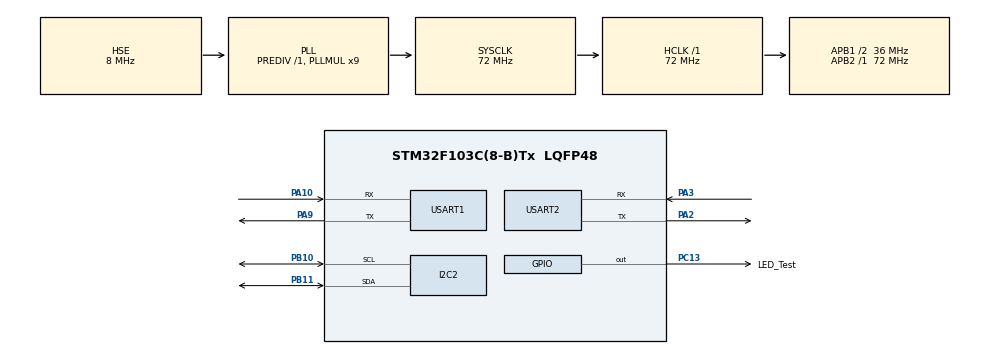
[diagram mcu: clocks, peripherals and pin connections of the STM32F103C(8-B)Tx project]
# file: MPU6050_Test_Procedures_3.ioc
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Dma.I2C2_RX.0.Direction=DMA_PERIPH_TO_MEMORY
Dma.I2C2_RX.0.Instance=DMA1_Channel5
Dma.I2C2_RX.0.MemDataAlignment=DMA_MDATAALIGN_BYTE
Dma.I2C2_RX.0.MemInc=DMA_MINC_ENABLE
Dma.I2C2_RX.0.Mode=DMA_NORMAL
Dma.I2C2_RX.0.PeriphDataAlignment=DMA_PDATAALIGN_BYTE
Dma.I2C2_RX.0.PeriphInc=DMA_PINC_DISABLE
Dma.I2C2_RX.0.Priority=DMA_PRIORITY_LOW
Dma.I2C2_TX.1.Direction=DMA_MEMORY_TO_PERIPH
Dma.I2C2_TX.1.Instance=DMA1_Channel4
Dma.I2C2_TX.1.MemDataAlignment=DMA_MDATAALIGN_BYTE
Dma.I2C2_TX.1.MemInc=DMA_MINC_ENABLE
Dma.I2C2_TX.1.Mode=DMA_NORMAL
Dma.I2C2_TX.1.PeriphDataAlignment=DMA_PDATAALIGN_BYTE
Dma.I2C2_TX.1.PeriphInc=DMA_PINC_DISABLE
Dma.I2C2_TX.1.Priority=DMA_PRIORITY_LOW
Dma.Request0=I2C2_RX
Dma.Request1=I2C2_TX
FREERTOS.Tasks01=Task_1,0,128,Start_Task_i,Default,NULL,Dynamic,NULL,NULL;Task_2,-3,128,Start_Task_2,Default,NULL,Dynamic,NULL,NULL;Task_3,-3,128,Start_Task_3,Default,NULL,Dynamic,NULL,NULL
Mcu.Family=STM32F1
Mcu.Name=STM32F103C(8-B)Tx
Mcu.Package=LQFP48
NVIC.DMA1_Channel4_IRQn=true\:0\:0\:false\:false\:true\:true\:false\:true
NVIC.DMA1_Channel5_IRQn=true\:0\:0\:false\:false\:true\:true\:false\:true
NVIC.I2C2_ER_IRQn=true\:0\:0\:false\:false\:true\:true\:true\:true
NVIC.I2C2_EV_IRQn=true\:0\:0\:false\:false\:true\:true\:true\:true
NVIC.PriorityGroup=NVIC_PRIORITYGROUP_4
NVIC.TIM3_IRQn=true\:0\:0\:false\:false\:true\:false\:false\:true
NVIC.TimeBase=TIM3_IRQn
NVIC.TimeBaseIP=TIM3
NVIC.USART1_IRQn=true\:0\:0\:false\:false\:true\:false\:true\:true
NVIC.USART2_IRQn=true\:0\:0\:false\:false\:true\:false\:true\:true
PA10.Mode=Asynchronous
PA10.Signal=USART1_RX
PA13.Mode=Serial_Wire
PA13.Signal=SYS_JTMS-SWDIO
PA14.Mode=Serial_Wire
PA14.Signal=SYS_JTCK-SWCLK
PA2.Mode=Asynchronous
PA2.Signal=USART2_TX
PA3.Mode=Asynchronous
PA3.Signal=USART2_RX
PA9.Mode=Asynchronous
PA9.Signal=USART1_TX
PB10.Mode=I2C
PB10.Signal=I2C2_SCL
PB11.Mode=I2C
PB11.Signal=I2C2_SDA
PC13-TAMPER-RTC.GPIO_Label=LED_Test
PC13-TAMPER-RTC.PinState=GPIO_PIN_SET
PC13-TAMPER-RTC.Signal=GPIO_Output
PD0-OSC_IN.Mode=HSE-External-Oscillator
PD0-OSC_IN.Signal=RCC_OSC_IN
PD1-OSC_OUT.Mode=HSE-External-Oscillator
PD1-OSC_OUT.Signal=RCC_OSC_OUT
ProjectManager.HeapSize=0x200
ProjectManager.StackSize=0x400
ProjectManager.TargetToolchain=MDK-ARM V5.27
RCC.AHBFreq_Value=72000000
RCC.APB1CLKDivider=RCC_HCLK_DIV2
RCC.APB1Freq_Value=36000000
RCC.APB1TimFreq_Value=72000000
RCC.APB2Freq_Value=72000000
RCC.APB2TimFreq_Value=72000000
RCC.HCLKFreq_Value=72000000
RCC.PLLMUL=RCC_PLL_MUL9
RCC.PLLSourceVirtual=RCC_PLLSOURCE_HSE
RCC.SYSCLKFreq_VALUE=72000000
RCC.SYSCLKSource=RCC_SYSCLKSOURCE_PLLCLK
RCC.USBFreq_Value=72000000
USART1.VirtualMode=VM_ASYNC
USART2.VirtualMode=VM_ASYNC
VP_FREERTOS_VS_CMSIS_V1.Mode=CMSIS_V1
VP_SYS_VS_tim3.Mode=TIM3
board=custom

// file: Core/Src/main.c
/* USER CODE BEGIN Header */
/**
  ******************************************************************************
  * @file           : main.c
  * @brief          : Main program body
  ******************************************************************************
  * @attention
  *
  * <h2><center>&copy; Copyright (c) 2022 STMicroelectronics.
  * All rights reserved.</center></h2>
  *
  * This software component is licensed by ST under Ultimate Liberty license
  * SLA0044, the "License"; You may not use this file except in compliance with
  * the License. You may obtain a copy of the License at:
  *                             www.st.com/SLA0044
  *
  ******************************************************************************
  */
/* USER CODE END Header */
#include "main.h"
#include "cmsis_os.h"
#include "dma.h"
#include "i2c.h"
#include "usart.h"
#include "gpio.h"

/* USER CODE BEGIN Includes */

int fputc(int ch, FILE *fp){

	while(!(USART1->SR & (1<<7)));
	USART1->DR = ch;
	return ch;
}

/* USER CODE END Includes */

void SystemClock_Config(void);
void MX_FREERTOS_Init(void);

int main(void)
{

  /* MCU Configuration--------------------------------------------------------*/

  /* Reset of all peripherals, Initializes the Flash interface and the Systick. */
  HAL_Init();

  /* Configure the system clock */
  SystemClock_Config();

  /* Initialize all configured peripherals */
  MX_GPIO_Init();
  MX_DMA_Init();
  MX_USART1_UART_Init();
  MX_USART2_UART_Init();
  MX_I2C2_Init();

  /* Call init function for freertos objects (in freertos.c) */
  MX_FREERTOS_Init();
  /* Start scheduler */
  osKernelStart();

  /* We should never get here as control is now taken by the scheduler */
  /* Infinite loop */
  while (1)
  {

  }
}

void SystemClock_Config(void)
{
  RCC_OscInitTypeDef RCC_OscInitStruct = {0};
  RCC_ClkInitTypeDef RCC_ClkInitStruct = {0};

  /** Initializes the RCC Oscillators according to the specified parameters
  * in the RCC_OscInitTypeDef structure.
  */
  RCC_OscInitStruct.OscillatorType = RCC_OSCILLATORTYPE_HSE;
  RCC_OscInitStruct.HSEState = RCC_HSE_ON;
  RCC_OscInitStruct.HSEPredivValue = RCC_HSE_PREDIV_DIV1;
  RCC_OscInitStruct.HSIState = RCC_HSI_ON;
  RCC_OscInitStruct.PLL.PLLState = RCC_PLL_ON;
  RCC_OscInitStruct.PLL.PLLSource = RCC_PLLSOURCE_HSE;
  RCC_OscInitStruct.PLL.PLLMUL = RCC_PLL_MUL9;
  if (HAL_RCC_OscConfig(&RCC_OscInitStruct) != HAL_OK)
  {
    Error_Handler();
  }
  /** Initializes the CPU, AHB and APB buses clocks
  */
  RCC_ClkInitStruct.ClockType = RCC_CLOCKTYPE_HCLK|RCC_CLOCKTYPE_SYSCLK
                              |RCC_CLOCKTYPE_PCLK1|RCC_CLOCKTYPE_PCLK2;
  RCC_ClkInitStruct.SYSCLKSource = RCC_SYSCLKSOURCE_PLLCLK;
  RCC_ClkInitStruct.AHBCLKDivider = RCC_SYSCLK_DIV1;
  RCC_ClkInitStruct.APB1CLKDivider = RCC_HCLK_DIV2;
  RCC_ClkInitStruct.APB2CLKDivider = RCC_HCLK_DIV1;

  if (HAL_RCC_ClockConfig(&RCC_ClkInitStruct, FLASH_LATENCY_2) != HAL_OK)
  {
    Error_Handler();
  }
}

void HAL_TIM_PeriodElapsedCallback(TIM_HandleTypeDef *htim)
{
  if (htim->Instance == TIM3) {
    HAL_IncTick();
  }
}

void Error_Handler(void)
{
}

/************************ (C) COPYRIGHT STMicroelectronics *****END OF FILE****/

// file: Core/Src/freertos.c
/* USER CODE BEGIN Header */
/**
  ******************************************************************************
  * File Name          : freertos.c
  * Description        : Code for freertos applications
  ******************************************************************************
  * @attention
  *
  * <h2><center>&copy; Copyright (c) 2022 STMicroelectronics.
  * All rights reserved.</center></h2>
  *
  * This software component is licensed by ST under Ultimate Liberty license
  * SLA0044, the "License"; You may not use this file except in compliance with
  * the License. You may obtain a copy of the License at:
  *                             www.st.com/SLA0044
  *
  ******************************************************************************
  */
/* USER CODE END Header */

#include "FreeRTOS.h"
#include "task.h"
#include "main.h"
#include "cmsis_os.h"

/* USER CODE BEGIN Includes */

#include "test.h"

/* USER CODE END Includes */

osThreadId Task_1Handle;
osThreadId Task_2Handle;
osThreadId Task_3Handle;

void Start_Task_i(void const * argument);
void Start_Task_2(void const * argument);
void Start_Task_3(void const * argument);

void MX_FREERTOS_Init(void); /* (MISRA C 2004 rule 8.1) */

/* GetIdleTaskMemory prototype (linked to static allocation support) */
void vApplicationGetIdleTaskMemory( StaticTask_t **ppxIdleTaskTCBBuffer, StackType_t **ppxIdleTaskStackBuffer, uint32_t *pulIdleTaskStackSize );

/* USER CODE BEGIN GET_IDLE_TASK_MEMORY */
static StaticTask_t xIdleTaskTCBBuffer;
static StackType_t xIdleStack[configMINIMAL_STACK_SIZE];

void vApplicationGetIdleTaskMemory( StaticTask_t **ppxIdleTaskTCBBuffer, StackType_t **ppxIdleTaskStackBuffer, uint32_t *pulIdleTaskStackSize )
{
  *ppxIdleTaskTCBBuffer = &xIdleTaskTCBBuffer;
  *ppxIdleTaskStackBuffer = &xIdleStack[0];
  *pulIdleTaskStackSize = configMINIMAL_STACK_SIZE;
  /* place for user code */
}
/* USER CODE END GET_IDLE_TASK_MEMORY */

void MX_FREERTOS_Init(void) {

  /* Create the thread(s) */
  /* definition and creation of Task_1 */
  osThreadDef(Task_1, Start_Task_i, osPriorityNormal, 0, 128);
  Task_1Handle = osThreadCreate(osThread(Task_1), NULL);

  /* definition and creation of Task_2 */
  osThreadDef(Task_2, Start_Task_2, osPriorityIdle, 0, 128);
  Task_2Handle = osThreadCreate(osThread(Task_2), NULL);

  /* definition and creation of Task_3 */
  osThreadDef(Task_3, Start_Task_3, osPriorityIdle, 0, 128);
  Task_3Handle = osThreadCreate(osThread(Task_3), NULL);

}

void Start_Task_i(void const * argument)
{
  /* USER CODE BEGIN Start_Task_i */

	/* MPU6050 Init */
	while(MPU_Init()){

		printf("MPU6050 ERROR! \r\n");
	}
	printf("MPU6050 Init OK!\r\n");
	while(mpu_dmp_init()){

		printf("MPU6050_MDP_Init ERROR! \r\n");
	}
	printf("MPU6050 MDP OK!\r\n");

  /* Infinite loop */
  for(;;)
  {

		test_task_1();

    osDelay(500);
  }
  /* USER CODE END Start_Task_i */
}

void Start_Task_2(void const * argument)
{
  /* USER CODE BEGIN Start_Task_2 */
  /* Infinite loop */
  for(;;)
  {

		test_task_2();

    osDelay(100);
  }
  /* USER CODE END Start_Task_2 */
}

void Start_Task_3(void const * argument)
{
  /* USER CODE BEGIN Start_Task_3 */
  /* Infinite loop */
  for(;;)
  {
    osDelay(100);
  }
  /* USER CODE END Start_Task_3 */
}

/************************ (C) COPYRIGHT STMicroelectronics *****END OF FILE****/
